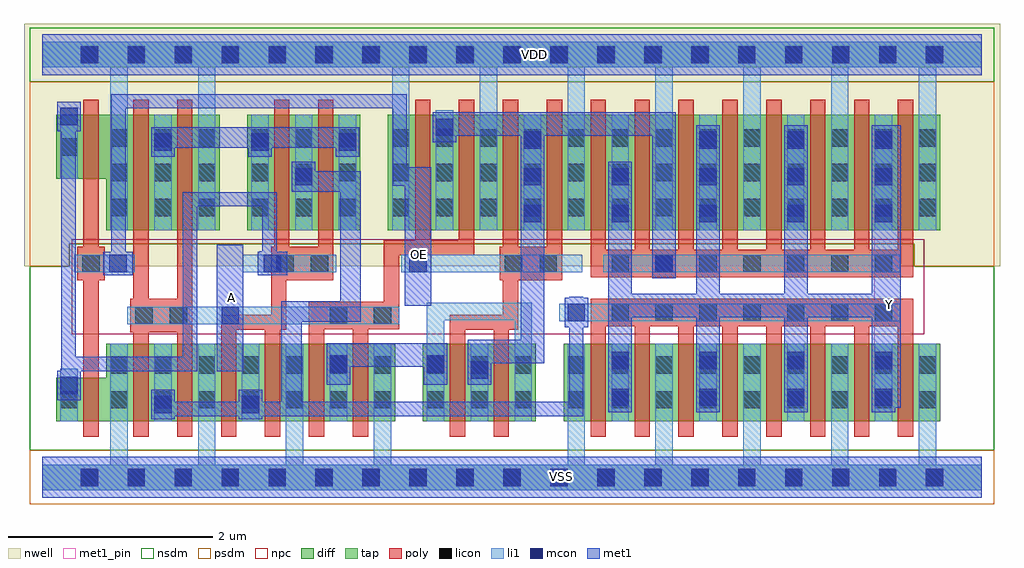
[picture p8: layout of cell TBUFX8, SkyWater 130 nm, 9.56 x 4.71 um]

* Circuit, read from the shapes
.subckt TBUFX8 A OE VDD VSS Y
XM1 VSS OE n1 VSS sky130_fd_pr__nfet_01v8 w=0.425 l=0.15
XM2 n2 A VSS VSS sky130_fd_pr__nfet_01v8 w=0.76 l=0.15 m=2
XM3 n2 n1 VSS VSS sky130_fd_pr__nfet_01v8 w=0.76 l=0.15 m=2
XM4 n3 A VSS VSS sky130_fd_pr__nfet_01v8 w=0.76 l=0.15 m=2
XM5 n4 OE n3 VSS sky130_fd_pr__nfet_01v8 w=0.76 l=0.15 m=2
XM6 Y n2 VSS VSS sky130_fd_pr__nfet_01v8 w=0.76 l=0.15 m=8
XM7 VDD OE n1 VDD sky130_fd_pr__pfet_01v8 w=0.625 l=0.15
XM8 n5 A VDD VDD sky130_fd_pr__pfet_01v8 w=1.13 l=0.15 m=2
XM9 n2 n1 n5 VDD sky130_fd_pr__pfet_01v8 w=1.13 l=0.15 m=2
XM10 n4 A VDD VDD sky130_fd_pr__pfet_01v8 w=1.13 l=0.15 m=2
XM11 n4 OE VDD VDD sky130_fd_pr__pfet_01v8 w=1.13 l=0.15 m=2
XM12 Y n4 VDD VDD sky130_fd_pr__pfet_01v8 w=1.13 l=0.15 m=8
.ends

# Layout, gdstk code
from math import pi, radians
import gdstk
lib = gdstk.Library(unit=1e-6, precision=1e-09)
def R(c, l, rs):  # rectangles x0, y0, x1, y1
    for r in rs: c.add(gdstk.rectangle(r[:2], r[2:], *l))
def A(c, l, x, y, w, h, nx, ny, dx, dy):  # array of equal rectangles
    R(c, l, [(x+i*dx, y+j*dy, x+i*dx+w, y+j*dy+h) for i in range(nx) for j in range(ny)])
def P(c, l, *ps):  # polygons
    for p in ps: c.add(gdstk.Polygon(p, *l))
nwell = (64, 20)
diff = (65, 20)
tap = (65, 44)
poly = (66, 20)
licon = (66, 44)
li1 = (67, 20)
mcon = (67, 44)
met1_pin = (68, 16)
met1 = (68, 20)
nsdm = (93, 44)
psdm = (94, 20)
npc = (95, 20)

l1m1_c_cdns_758728262106 = lib.new_cell('L1M1_C_CDNS_758728262106')
R(l1m1_c_cdns_758728262106, li1, [(-0.085,-0.085,0.085,0.085)])
R(l1m1_c_cdns_758728262106, mcon, [(-0.085,-0.085,0.085,0.085)])
R(l1m1_c_cdns_758728262106, met1, [(-0.115,-0.145,0.115,0.145)])

l1m1_c_cdns_758728262100 = lib.new_cell('L1M1_C_CDNS_758728262100')
R(l1m1_c_cdns_758728262100, li1, [(-0.165,-0.085,0.165,0.085)])
R(l1m1_c_cdns_758728262100, mcon, [(-0.085,-0.085,0.085,0.085)])
R(l1m1_c_cdns_758728262100, met1, [(-0.115,-0.145,0.115,0.145)])

pyl1con_c_cdns_758728262 = lib.new_cell('PYL1CON_C_CDNS_758728262102')
R(pyl1con_c_cdns_758728262, poly, [(-0.135,-0.165,0.135,0.165)])
R(pyl1con_c_cdns_758728262, licon, [(-0.085,-0.085,0.085,0.085)])
R(pyl1con_c_cdns_758728262, npc, [(-0.185,-0.185,0.185,0.185)])

l1m1_c_cdns_758728262101 = lib.new_cell('L1M1_C_CDNS_758728262101')
R(l1m1_c_cdns_758728262101, li1, [(-0.085,-0.165,0.085,0.165)])
R(l1m1_c_cdns_758728262101, mcon, [(-0.085,-0.085,0.085,0.085)])
R(l1m1_c_cdns_758728262101, met1, [(-0.115,-0.145,0.115,0.145)])

l1m1_c_cdns_758728262104 = lib.new_cell('L1M1_C_CDNS_758728262104')
R(l1m1_c_cdns_758728262104, li1, [(-0.085,-0.345,0.085,0.345)])
R(l1m1_c_cdns_758728262104, mcon, [(-0.085,-0.265,0.085,-0.095), (-0.085,0.095,0.085,0.265)])
R(l1m1_c_cdns_758728262104, met1, [(-0.115,-0.325,0.115,0.325)])

c_l1m1_c_cdns_758728262101 = lib.new_cell('L1M1_C_CDNS_7587282621012')
R(c_l1m1_c_cdns_758728262101, li1, [(-0.085,-0.525,0.085,0.525)])
A(c_l1m1_c_cdns_758728262101, mcon, -0.085, -0.445, 0.17, 0.17, 1, 3, 0, 0.36)
R(c_l1m1_c_cdns_758728262101, met1, [(-0.115,-0.505,0.115,0.505)])

c_l1m1_c_cdns_758728262101_ = lib.new_cell('L1M1_C_CDNS_7587282621018')
R(c_l1m1_c_cdns_758728262101_, li1, [(-0.085,-0.145,0.085,0.145)])
R(c_l1m1_c_cdns_758728262101_, mcon, [(-0.085,-0.085,0.085,0.085)])
R(c_l1m1_c_cdns_758728262101_, met1, [(-0.115,-0.205,0.115,0.205)])

c_l1m1_c_cdns_758728262101__ = lib.new_cell('L1M1_C_CDNS_7587282621011')
R(c_l1m1_c_cdns_758728262101__, li1, [(-0.085,-0.165,0.085,0.085)])
R(c_l1m1_c_cdns_758728262101__, mcon, [(-0.085,-0.085,0.085,0.085)])
R(c_l1m1_c_cdns_758728262101__, met1, [(-0.115,-0.145,0.115,0.145)])

l1m1_c_cdns_758728262105 = lib.new_cell('L1M1_C_CDNS_758728262105')
R(l1m1_c_cdns_758728262105, li1, [(-0.165,-0.085,0.165,0.085)])
R(l1m1_c_cdns_758728262105, mcon, [(-0.085,-0.085,0.085,0.085)])
R(l1m1_c_cdns_758728262105, met1, [(-0.145,-0.115,0.145,0.115)])

tbufx8 = lib.new_cell('TBUFX8')
R(tbufx8, nwell, [(-0.18,2.07,9.38,4.445)])
R(tbufx8, diff, [(3.725,0.55,4.835,1.31), (5.105,0.55,8.795,1.31), (2.005,2.42,3.115,3.55), (3.385,2.42,8.795,3.55)])
P(tbufx8, diff, [(1.735,3.55),(0.135,3.55),(0.135,2.925),(0.625,2.925),(0.625,2.42),(1.735,2.42)],
  [(3.455,1.31),(0.625,1.31),(0.625,0.975),(0.135,0.975),(0.135,0.55),(3.455,0.55)])
A(tbufx8, poly, 5.37, 0.4, 0.15, 1.35, 8, 1, 0.43, 0)
A(tbufx8, poly, 5.37, 1.96, 0.15, 1.74, 8, 1, 0.43, 0)
R(tbufx8, poly, [(0.4,0.4,0.55,3.7), (2.61,0.4,2.76,1.72), (3.04,0.4,3.19,1.72)])
P(tbufx8, poly, [(1.47,3.7),(1.32,3.7),(1.32,1.75),(1.04,1.75),(1.04,3.7),(0.89,3.7),(0.89,1.75),(0.86,1.75),(0.86,1.42),(0.89,1.42),(0.89,0.4),(1.04,0.4),(1.04,1.42),(1.32,1.42),(1.32,0.4),(1.47,0.4)],
  [(2.85,3.7),(2.7,3.7),(2.7,2.26),(2.42,2.26),(2.42,3.7),(2.27,3.7),(2.27,2.26),(2.24,2.26),(2.24,1.595),(1.75,1.595),(1.75,0.4),(1.9,0.4),(1.9,1.445),(2.18,1.445),(2.18,0.4),(2.33,0.4),(2.33,1.445),(2.39,1.445),(2.39,1.93),(2.85,1.93)],
  [(4.23,3.7),(4.08,3.7),(4.08,2.325),(3.8,2.325),(3.8,3.7),(3.65,3.7),(3.65,2.325),(3.345,2.325),(3.345,1.49),(3.495,1.49),(3.495,2.175),(4.23,2.175)],
  [(5.09,3.7),(4.94,3.7),(4.94,2.26),(4.66,2.26),(4.66,3.7),(4.51,3.7),(4.51,2.26),(4.48,2.26),(4.48,1.93),(4.51,1.93),(4.51,1.595),(3.99,1.595),(3.99,0.4),(4.14,0.4),(4.14,1.445),(4.42,1.445),(4.42,0.4),(4.57,0.4),(4.57,1.445),(4.66,1.445),(4.66,1.93),(5.09,1.93)])
A(tbufx8, licon, 0.375, -0.085, 0.17, 0.17, 19, 2, 0.46, 4.14)
A(tbufx8, licon, 0.665, 0.675, 0.17, 0.17, 7, 2, 0.43, 0.34)
A(tbufx8, licon, 3.765, 0.675, 0.17, 0.17, 3, 2, 0.43, 0.34)
A(tbufx8, licon, 5.145, 0.675, 0.17, 0.17, 9, 2, 0.43, 0.34)
A(tbufx8, licon, 0.665, 2.56, 0.17, 0.17, 3, 3, 0.43, 0.34)
A(tbufx8, licon, 2.045, 2.56, 0.17, 0.17, 3, 3, 0.43, 0.34)
A(tbufx8, licon, 3.425, 2.56, 0.17, 0.17, 13, 3, 0.43, 0.34)
R(tbufx8, licon, [(0.175,0.675,0.345,0.845), (0.175,3.15,0.345,3.32)])
A(tbufx8, li1, 1.095, 0.55, 0.17, 0.76, 3, 1, 0.86, 0)
A(tbufx8, li1, 5.575, 0.55, 0.17, 0.76, 4, 1, 0.86, 0)
A(tbufx8, li1, 2.045, 2.42, 0.17, 1.13, 3, 1, 0.43, 0)
A(tbufx8, li1, 3.855, 2.42, 0.17, 1.13, 6, 1, 0.86, 0)
R(tbufx8, li1, [(0.175,0.55,0.345,0.975), (4.195,0.55,4.365,1.31), (1.095,2.42,1.265,3.55), (0.175,2.925,0.345,3.55)])
P(tbufx8, li1, [(4.795,1.71),(3.765,1.71),(3.765,0.55),(3.935,0.55),(3.935,1.54),(4.625,1.54),(4.625,0.55),(4.795,0.55)],
  [(9.2,4.265),(0,4.265),(0,4.015),(0.665,4.015),(0.665,2.42),(0.835,2.42),(0.835,4.015),(1.525,4.015),(1.525,2.42),(1.695,2.42),(1.695,4.015),(3.425,4.015),(3.425,2.42),(3.595,2.42),(3.595,4.015),(4.285,4.015),(4.285,2.42),(4.455,2.42),(4.455,4.015),(5.145,4.015),(5.145,2.42),(5.315,2.42),(5.315,4.015),(6.005,4.015),(6.005,2.42),(6.175,2.42),(6.175,4.015),(6.865,4.015),(6.865,2.42),(7.035,2.42),(7.035,4.015),(7.725,4.015),(7.725,2.42),(7.895,2.42),(7.895,4.015),(8.585,4.015),(8.585,2.42),(8.755,2.42),(8.755,4.015),(9.2,4.015)],
  [(9.2,0.125),(8.755,0.125),(8.755,1.31),(8.585,1.31),(8.585,0.125),(7.895,0.125),(7.895,1.31),(7.725,1.31),(7.725,0.125),(7.035,0.125),(7.035,1.31),(6.865,1.31),(6.865,0.125),(6.175,0.125),(6.175,1.31),(6.005,1.31),(6.005,0.125),(5.315,0.125),(5.315,1.31),(5.145,1.31),(5.145,0.125),(3.415,0.125),(3.415,1.31),(3.245,1.31),(3.245,0.125),(2.555,0.125),(2.555,1.31),(2.385,1.31),(2.385,0.125),(1.695,0.125),(1.695,1.31),(1.525,1.31),(1.525,0.125),(0.835,0.125),(0.835,1.31),(0.665,1.31),(0.665,0.125),(0,0.125),(0,-0.125),(9.2,-0.125)])
A(tbufx8, mcon, 0.375, -0.085, 0.17, 0.17, 19, 2, 0.46, 4.14)
R(tbufx8, met1_pin, [(1.71,1.04,1.97,2.28), (8.15,1.095,8.41,2.335), (3.55,1.68,3.81,3.04)])
P(tbufx8, met1, [(2.295,2.795),(1.375,2.795),(1.375,1.18),(0.325,1.18),(0.325,3.605),(0.185,3.605),(0.185,0.765),(0.325,0.765),(0.325,0.955),(0.375,0.955),(0.375,1),(0.325,1),(0.325,1.04),(1.515,1.04),(1.515,2.655),(2.155,2.655),(2.155,2.215),(2.13,2.215),(2.13,2.075),(2.295,2.075)],
  [(3.81,3.04),(3.57,3.04),(3.57,3.755),(0.675,3.755),(0.675,2.125),(0.815,2.125),(0.815,3.615),(3.43,3.615),(3.43,2.855),(3.55,2.855),(3.55,1.68),(3.81,1.68)],
  [(5.3,1.77),(5.16,1.77),(5.16,0.74),(2.54,0.74),(2.54,1.525),(3.12,1.525),(3.12,3),(2.66,3),(2.66,3.09),(2.46,3.09),(2.46,2.8),(2.92,2.8),(2.92,1.725),(2.34,1.725),(2.34,0.74),(1.25,0.74),(1.25,0.785),(1.11,0.785),(1.11,0.6),(5.3,0.6)],
  [(6.205,3.575),(3.94,3.575),(3.94,3.345),(4.685,3.345),(4.685,1.35),(4.165,1.35),(4.165,1.12),(4.915,1.12),(4.915,3.345),(5.975,3.345),(5.975,2),(6.205,2)],
  [(8.41,3.45),(8.125,3.45),(8.125,1.8),(7.495,1.8),(7.495,3.45),(7.265,3.45),(7.265,1.8),(6.635,1.8),(6.635,3.45),(6.405,3.45),(6.405,1.8),(5.775,1.8),(5.775,3.09),(5.545,3.09),(5.545,0.68),(5.775,0.68),(5.775,1.57),(6.405,1.57),(6.405,0.68),(6.635,0.68),(6.635,1.57),(7.265,1.57),(7.265,0.68),(7.495,0.68),(7.495,1.57),(8.125,1.57),(8.125,0.68),(8.41,0.68)])
R(tbufx8, nsdm, [(-0.125,3.875,9.325,4.405)])
P(tbufx8, nsdm, [(9.325,2.07),(8.54,2.07),(8.54,2.29),(0.265,2.29),(0.265,2.07),(-0.125,2.07),(-0.125,0.265),(9.325,0.265)])
R(tbufx8, psdm, [(-0.125,-0.265,9.325,0.265)])
P(tbufx8, psdm, [(9.325,3.875),(-0.125,3.875),(-0.125,2.07),(0.265,2.07),(0.265,2.29),(8.54,2.29),(8.54,2.07),(9.325,2.07)])
R(tbufx8, npc, [(0.29,1.4,8.64,2.33)])
tbufx8.add(gdstk.FlexPath([(0,4.14),(9.2,4.14)], 0.4, ends="flush", simple_path=True, layer=68, datatype=16))  # met1_pin
tbufx8.add(gdstk.FlexPath([(0,0),(9.2,0)], 0.4, ends="flush", simple_path=True, layer=68, datatype=16))  # met1_pin
tbufx8.add(gdstk.FlexPath([(0,0),(9.2,0)], 0.4, ends="flush", simple_path=True, layer=68, datatype=20))  # met1
tbufx8.add(gdstk.FlexPath([(1.84,1.04),(1.84,2.28)], 0.26, ends="flush", simple_path=True, layer=68, datatype=20))  # met1
tbufx8.add(gdstk.FlexPath([(2.95,3.33),(1.165,3.33)], 0.2, ends="flush", simple_path=True, layer=68, datatype=20))  # met1
tbufx8.add(gdstk.FlexPath([(3.835,1.2),(2.885,1.2)], 0.23, ends="flush", simple_path=True, layer=68, datatype=20))  # met1
tbufx8.add(gdstk.FlexPath([(0,4.14),(9.2,4.14)], 0.4, ends="flush", simple_path=True, layer=68, datatype=20))  # met1
tbufx8.add(gdstk.FlexPath([(2.88,2.095),(1.965,2.095)], 0.17, ends="flush", simple_path=True, layer=67, datatype=20))  # li1
tbufx8.add(gdstk.FlexPath([(0.74,2.095),(0.31,2.095)], 0.17, ends="flush", simple_path=True, layer=67, datatype=20))  # li1
tbufx8.add(gdstk.FlexPath([(5.29,2.095),(3.515,2.095)], 0.17, ends="flush", simple_path=True, layer=67, datatype=20))  # li1
tbufx8.add(gdstk.FlexPath([(3.495,1.585),(0.83,1.585)], 0.17, ends="flush", simple_path=True, layer=67, datatype=20))  # li1
tbufx8.add(gdstk.FlexPath([(5.495,2.095),(8.405,2.095)], 0.17, ends="flush", simple_path=True, layer=67, datatype=20))  # li1
tbufx8.add(gdstk.FlexPath([(5.065,1.615),(8.405,1.615)], 0.17, ends="flush", simple_path=True, layer=67, datatype=20))  # li1
tbufx8.add(gdstk.FlexPath([(0,0),(9.2,0)], 0.25, ends="flush", simple_path=True, layer=65, datatype=44))  # tap
tbufx8.add(gdstk.FlexPath([(0,4.14),(9.2,4.14)], 0.25, ends="flush", simple_path=True, layer=65, datatype=44))  # tap
tbufx8.add(gdstk.Reference(l1m1_c_cdns_758728262106, (3.85,1.11)))
tbufx8.add(gdstk.Reference(l1m1_c_cdns_758728262106, (2.9,1.11)))
tbufx8.add(gdstk.Reference(l1m1_c_cdns_758728262100, (3.68,2.095), rotation=pi, x_reflection=True))
tbufx8.add(gdstk.Reference(l1m1_c_cdns_758728262100, (6.09,2.095)))
tbufx8.add(gdstk.Reference(l1m1_c_cdns_758728262100, (5.23,1.615)))
tbufx8.add(gdstk.Reference(l1m1_c_cdns_758728262100, (1.84,1.585), x_reflection=True))
tbufx8.add(gdstk.Reference(pyl1con_c_cdns_758728262, (2.375,2.095)))
tbufx8.add(gdstk.Reference(pyl1con_c_cdns_758728262, (2.715,2.095)))
tbufx8.add(gdstk.Reference(pyl1con_c_cdns_758728262, (4.615,2.095)))
tbufx8.add(gdstk.Reference(pyl1con_c_cdns_758728262, (1.335,1.585)))
tbufx8.add(gdstk.Reference(pyl1con_c_cdns_758728262, (0.995,1.585)))
tbufx8.add(gdstk.Reference(pyl1con_c_cdns_758728262, (6.95,1.615), rotation=3*pi/2))
tbufx8.add(gdstk.Reference(pyl1con_c_cdns_758728262, (0.475,2.095), rotation=pi))
tbufx8.add(gdstk.Reference(pyl1con_c_cdns_758728262, (5.66,2.095), rotation=3*pi/2))
tbufx8.add(gdstk.Reference(pyl1con_c_cdns_758728262, (6.52,2.095), rotation=3*pi/2))
tbufx8.add(gdstk.Reference(pyl1con_c_cdns_758728262, (6.09,2.095), rotation=3*pi/2))
tbufx8.add(gdstk.Reference(pyl1con_c_cdns_758728262, (6.95,2.095), rotation=3*pi/2))
tbufx8.add(gdstk.Reference(pyl1con_c_cdns_758728262, (7.38,1.615), rotation=3*pi/2))
tbufx8.add(gdstk.Reference(pyl1con_c_cdns_758728262, (8.24,1.615), rotation=3*pi/2))
tbufx8.add(gdstk.Reference(pyl1con_c_cdns_758728262, (7.81,1.615), rotation=3*pi/2))
tbufx8.add(gdstk.Reference(pyl1con_c_cdns_758728262, (5.66,1.615), rotation=3*pi/2))
tbufx8.add(gdstk.Reference(pyl1con_c_cdns_758728262, (6.52,1.615), rotation=3*pi/2))
tbufx8.add(gdstk.Reference(pyl1con_c_cdns_758728262, (4.955,2.095)))
tbufx8.add(gdstk.Reference(pyl1con_c_cdns_758728262, (2.9,1.585), rotation=3*pi/2))
tbufx8.add(gdstk.Reference(pyl1con_c_cdns_758728262, (3.33,1.585), rotation=3*pi/2))
tbufx8.add(gdstk.Reference(pyl1con_c_cdns_758728262, (8.24,2.095), rotation=3*pi/2))
tbufx8.add(gdstk.Reference(pyl1con_c_cdns_758728262, (7.81,2.095), rotation=3*pi/2))
tbufx8.add(gdstk.Reference(pyl1con_c_cdns_758728262, (7.38,2.095), rotation=3*pi/2))
tbufx8.add(gdstk.Reference(pyl1con_c_cdns_758728262, (6.09,1.615), rotation=3*pi/2))
tbufx8.add(gdstk.Reference(l1m1_c_cdns_758728262101, (2.56,2.945)))
tbufx8.add(gdstk.Reference(l1m1_c_cdns_758728262101, (2.99,3.285)))
tbufx8.add(gdstk.Reference(l1m1_c_cdns_758728262101, (1.18,3.285)))
tbufx8.add(gdstk.Reference(l1m1_c_cdns_758728262101, (4.28,1.05)))
tbufx8.add(gdstk.Reference(l1m1_c_cdns_758728262101, (3.94,3.43)))
tbufx8.add(gdstk.Reference(l1m1_c_cdns_758728262101, (1.18,0.715)))
tbufx8.add(gdstk.Reference(l1m1_c_cdns_758728262101, (2.04,0.715)))
tbufx8.add(gdstk.Reference(l1m1_c_cdns_758728262101, (0.26,0.9), rotation=pi, x_reflection=True))
tbufx8.add(gdstk.Reference(l1m1_c_cdns_758728262101, (2.13,3.285)))
tbufx8.add(gdstk.Reference(l1m1_c_cdns_758728262104, (5.66,2.765)))
tbufx8.add(gdstk.Reference(l1m1_c_cdns_758728262104, (6.52,0.965)))
tbufx8.add(gdstk.Reference(l1m1_c_cdns_758728262104, (5.66,0.965)))
tbufx8.add(gdstk.Reference(l1m1_c_cdns_758728262104, (7.38,0.965)))
tbufx8.add(gdstk.Reference(l1m1_c_cdns_758728262104, (8.24,0.965)))
tbufx8.add(gdstk.Reference(c_l1m1_c_cdns_758728262101, (4.8,2.945)))
tbufx8.add(gdstk.Reference(c_l1m1_c_cdns_758728262101, (6.52,2.945)))
tbufx8.add(gdstk.Reference(c_l1m1_c_cdns_758728262101, (7.38,2.945)))
tbufx8.add(gdstk.Reference(c_l1m1_c_cdns_758728262101, (8.24,2.945)))
tbufx8.add(gdstk.Reference(c_l1m1_c_cdns_758728262101_, (2.9,1.11)))
tbufx8.add(gdstk.Reference(c_l1m1_c_cdns_758728262101_, (3.85,1.11)))
tbufx8.add(gdstk.Reference(c_l1m1_c_cdns_758728262101__, (0.26,3.535), rotation=pi, x_reflection=True))
tbufx8.add(gdstk.Reference(l1m1_c_cdns_758728262105, (2.255,2.095), rotation=pi, x_reflection=True))
tbufx8.add(gdstk.Reference(l1m1_c_cdns_758728262105, (0.74,2.095), rotation=pi, x_reflection=True))
tbufx8.add(gdstk.Label('VDD', (4.825,4.145), layer=68, texttype=5))
tbufx8.add(gdstk.Label('VSS', (5.085,0.005), layer=68, texttype=5))
tbufx8.add(gdstk.Label('Y', (8.295,1.69), layer=68, texttype=5))
tbufx8.add(gdstk.Label('A', (1.855,1.76), layer=68, texttype=5))
tbufx8.add(gdstk.Label('OE', (3.695,2.18), layer=68, texttype=5))

lib.write_gds('TBUFX8.gds')
